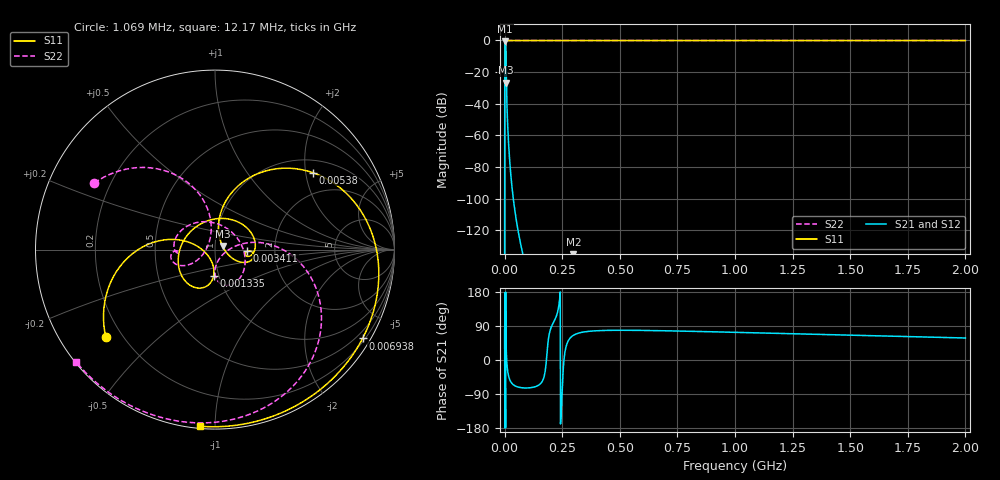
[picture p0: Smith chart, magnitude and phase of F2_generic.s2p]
! Created with skrf 2.2.0 (http://scikit-rf.org).
# MHz S RI R 50.0
! Port[1] = P1
! Port[2] = P2
!freq ReS11 ImS11 ReS21 ImS21 ReS12 ImS12 ReS22 ImS22
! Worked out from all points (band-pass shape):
!   2001 points, 50 kHz to 2 GHz, reference 50 ohm
!   highest |S21| = -0.64 dB at 3.101 MHz (marker M1); lowest = -198.7 dB at 298.5 MHz (marker M2)
!   |S21| within 3 dB of the highest: 1.126 MHz to 5.222 MHz (4.096 MHz wide, 129 % of centre)
!   lowest |S11| = -26.7 dB at 4.614 MHz (marker M3), VSWR 1.10, Z = 54.3 + j2.17 ohm
!   |S11| at or under -10 dB: 1.189 MHz to 4.954 MHz (3.764 MHz wide, 123 % of centre)
!   |S22| runs from -26.8 to 0.0 dB; largest |S21 - S12| = 1.2e-15
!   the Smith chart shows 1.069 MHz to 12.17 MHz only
!   S11 on the Smith chart (normalised r, x): 1.069 MHz: 0.14, -0.34; 1.335 MHz: 0.94, -0.28; 3.411 MHz: 1.43, -0.03; 5.38 MHz: 1.33, +2.19; 6.938 MHz: 0.29, -3.58; 12.17 MHz: 0.01, -0.92
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0.05  0.9975 -0.0691  6.71e-09 3.87e-08  6.71e-09 3.87e-08  0.9858 -0.1668
0.2287524  0.9486 -0.3148  4.48e-05 6.62e-05  4.48e-05 6.62e-05  0.7261 -0.6855
0.2934364  0.9144 -0.4025  0.000191 0.000206  0.000191 0.000206  0.5701 -0.8188
0.6565542  0.5117 -0.8501  0.0193 -0.000774  0.0193 -0.000774  -0.4479 -0.8776
0.9070546  -0.1081 -0.9522  0.1006 -0.103  0.1006 -0.103  -0.9057 -0.2766
1.06897  -0.6087 -0.4869  -0.0301 -0.473  -0.0301 -0.473  -0.6732 0.371
1.169723  -0.4046 0.014  -0.5858 -0.5131  -0.5858 -0.5131  -0.1474 0.3702
1.335391  -0.0081 -0.1476  -0.8411 0.3353  -0.8411 0.3353  -0.1254 -0.0757
1.712999  -0.1896 0.0188  0.1057 0.9115  0.1057 0.9115  -0.218 -0.00691
2.316945  0.1954 0.1017  0.9056 0.1615  0.9056 0.1615  -0.2282 0.0316
3.10079  0.1723 -0.0323  0.4933 -0.7866  0.4933 -0.7866  0.0431 0.1313
3.411072  0.1785 -0.00987  0.122 -0.916  0.122 -0.916  0.1501 0.0197
4.613703  0.0418 0.0199  -0.8959 -0.0206  -0.8959 -0.0206  0.0375 -0.034
5.379965  0.5445 0.4289  -0.1205 0.5388  -0.1205 0.5388  0.5935 -0.3797
6.937914  0.8222 -0.4949  0.077 0.0472  0.077 0.0472  -0.1264 -0.964
10  0.2189 -0.9597  0.00999 -0.00167  0.00999 -0.00167  -0.6493 -0.7513
12.16573  -0.081 -0.9845  0.00321 -0.0014  0.00321 -0.0014  -0.7739 -0.6257
24.35415  -0.7225 -0.6787  5.56e-05 -7.84e-05  5.56e-05 -7.84e-05  -0.9466 -0.3143
58.68728  -0.9499 -0.285  3.07e-07 -9.12e-07  3.07e-07 -9.12e-07  -0.99 -0.1246
298.5109  -0.9883 0.086  4.89e-11 1.05e-10  4.89e-11 1.05e-10  -0.9979 0.0115
342.5997  -0.9852 0.1158  9.91e-11 3.43e-10  9.91e-11 3.43e-10  -0.9978 0.0203
2000  -0.599 0.7927  5.83e-09 9.35e-09  5.83e-09 9.35e-09  -0.9679 0.2432
